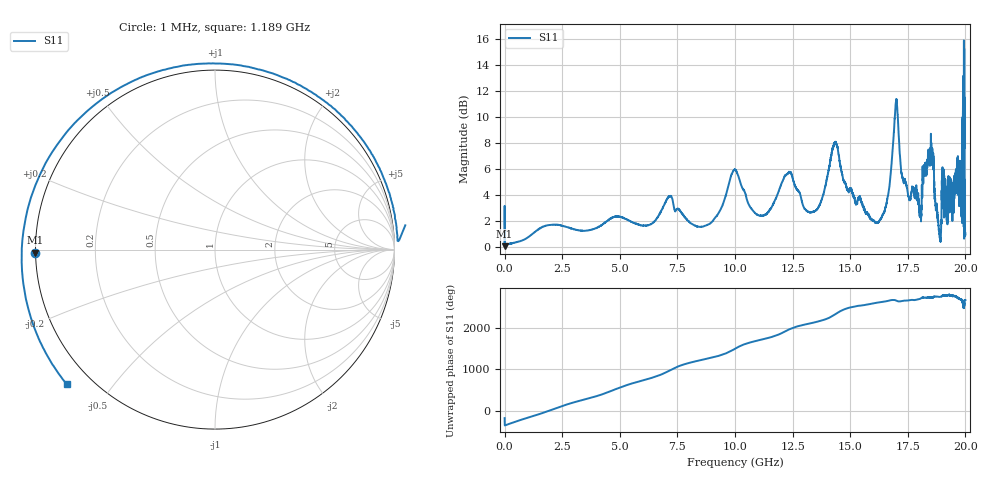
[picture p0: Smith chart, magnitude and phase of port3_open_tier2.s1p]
! Created with skrf 1.8.0 (http://scikit-rf.org).
# GHz S RI R 50.0
!freq ReS11 ImS11
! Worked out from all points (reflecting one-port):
!   10001 points, 1 MHz to 20 GHz, reference 50 ohm
!   lowest |S11| = 0.0 dB at 1 MHz (marker M1)
!   phase of S11 starts at -179 deg and turns +2859 deg over the sweep
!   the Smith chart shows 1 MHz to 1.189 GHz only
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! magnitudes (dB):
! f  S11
! 1 MHz  0.0
! 2.501 GHz  1.6
! 5.001 GHz  2.3
! 6.289 GHz  1.7
! 7.167 GHz  3.9
! 7.501 GHz  2.9
! 8.903 GHz  1.8
! 10 GHz  5.9
! 11.09 GHz  2.4
! 12.5 GHz  5.3
! 13.05 GHz  2.9
! 13.5 GHz  2.8
! 14.36 GHz  8.0
! 15 GHz  4.5
! 16.31 GHz  2.1
! 16.65 GHz  4.0
! 17 GHz  11.3
! 17.24 GHz  5.6
! 17.5 GHz  4.1
! 18.04 GHz  2.7
! 18.48 GHz  7.3
! 18.86 GHz  1.1
! 19.06 GHz  3.8
! 19.41 GHz  4.0
! 19.61 GHz  6.0
! 19.76 GHz  4.5
! 19.86 GHz  6.5
! 20 GHz  1.0
